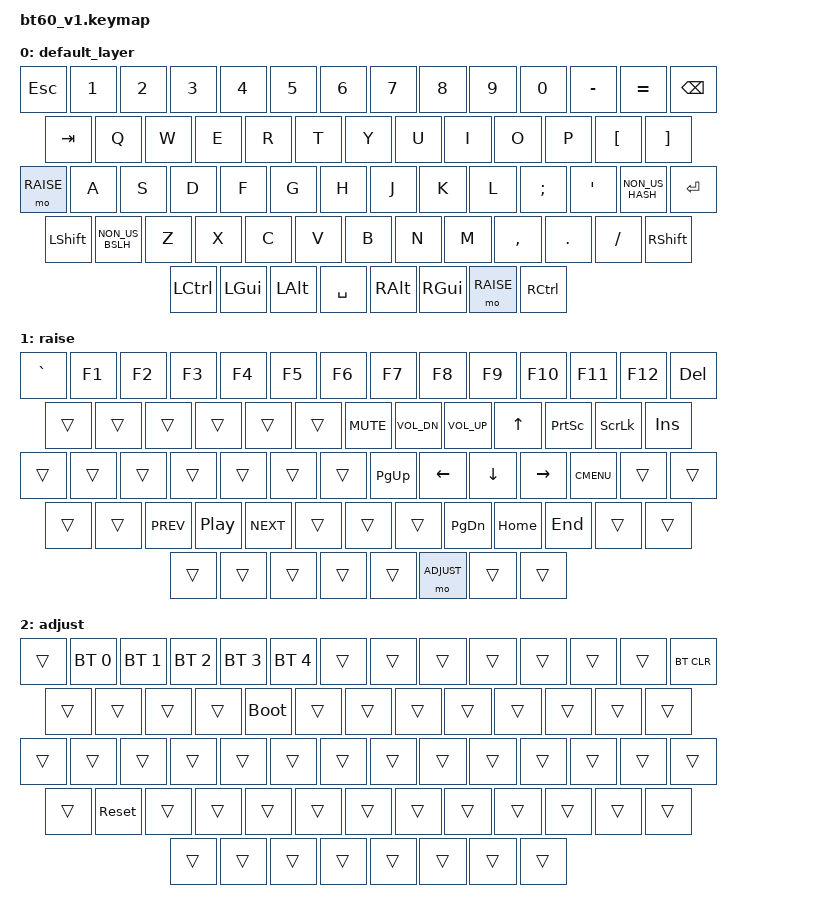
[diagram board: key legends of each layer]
#include <behaviors.dtsi>
#include <dt-bindings/zmk/keys.h>
#include <dt-bindings/zmk/bt.h>

#define DEFAULT 0
#define RAISE 1
#define ADJUST 2

/ {
	chosen {
		zmk,physical-layout = &layout_60_iso;
	};

	keymap {
		compatible = "zmk,keymap";

		default_layer {
				// ------------------------------------------------------------------------------------------
				// | ESC |  1  |  2  |  3  |  4  |  5  |  6  |  7  |  8  |  9  |  0  |  -  |  =  |   BKSP   |
				// | TAB  |  Q  |  W  |  E  |  R  |  T  |  Y  |  U  |  I  |  O  |  P  |  [  |  ]  |         |
				// |   1   |  A  |  S  |  D  |  F  |  G  |  H  |  J  |  K  |  L  |  ;  |  '  |  #   | ENTER |
				// |  SHIFT | |  |  Z  |  X  |  C  |  V  |  B  |  N  |  M  |  ,  |  .  | /   |     SHIFT    |
				// |  CTL  |  WIN  |  ALT  |              SPACE               |   ALT   | WIN |  1   | CTRL |
				// ------------------------------------------------------------------------------------------
			bindings = <
				&kp ESC &kp N1 &kp N2 &kp N3 &kp N4 &kp N5 &kp N6 &kp N7 &kp  N8   &kp  N9 &kp  N0  &kp MINUS &kp EQUAL &kp BSPC
				&kp TAB  &kp Q  &kp W  &kp E  &kp R  &kp T  &kp Y  &kp U  &kp  I    &kp  O  &kp  P   &kp LBKT &kp RBKT
				&mo RAISE  &kp A  &kp S  &kp D  &kp F  &kp G  &kp H  &kp J  &kp  K    &kp  L  &kp SEMI &kp SQT  &kp NON_US_HASH  &kp RET
				&kp LSHFT &kp NON_US_BSLH &kp Z  &kp X  &kp C  &kp V  &kp B  &kp N  &kp M  &kp COMMA &kp DOT &kp FSLH             &kp RSHFT
				&kp LCTRL &kp LGUI &kp LALT            &kp SPACE                          &kp RALT &kp RGUI &mo RAISE &kp RCTRL
			>;
		};
		raise {
				// ------------------------------------------------------------------------------------------
				// |  `  | F1  | F2  | F3  | F4  | F5  | F6  | F7  | F8  | F9  | F10 | F11 | F12 |    DEL   |
				// |  ø   |  ø  |  ø  |  ø  |  ø  |  ø  | MUT |VOL- |VOL+ | UP  | PRT |SCRL | INS |         |
				// |   ø   |  ø  |  ø  |  ø  |  ø  |  ø  |  ø  | PGU | LEF | DWN | RGT | MNU |  ø   |   ø   |
				// |   ø    |  ø  |MPRV  |MPLY |MNXT |  ø  |  ø  |  ø  | PGD | HOM | END |  ø |       ø     |
				// |   ø  |  ø   |   ø   |                 ø                  |   ø     |  2  |  ø   |  ø   |
				// ------------------------------------------------------------------------------------------
			bindings = <
				&kp GRAVE &kp F1 &kp F2 &kp F3 &kp F4 &kp F5 &kp F6 &kp F7 &kp  F8   &kp  F9 &kp  F10  &kp F11 &kp F12   &kp DEL
				&trans &trans &trans &trans &trans &trans &kp C_MUTE &kp C_VOL_DN &kp C_VOL_UP &kp UP &kp PSCRN &kp SLCK &kp INS
				&trans &trans &trans &trans &trans &trans &trans &kp PG_UP &kp LEFT &kp DOWN &kp RIGHT &kp K_CMENU &trans &trans
				&trans &trans &kp C_PREV &kp C_PLAY_PAUSE &kp C_NEXT &trans &trans &trans &kp PG_DN &kp HOME &kp END &trans &trans
				&trans &trans &trans              &trans                            &trans   &mo ADJUST   &trans &trans
			>;
		};
		adjust {
				// ------------------------------------------------------------------------------------------
				// |  ø  | BT1 | BT2 | BT3 | BT4 | BT5 |  ø  |  ø  |  ø  |  ø  |  ø  |  ø  |  ø  |  BT_CLR  |
				// |  ø   |  ø  |  ø  |  ø  |BOOT |  ø  |  ø  |  ø  |  ø  |  ø  |  ø  |  ø  |  ø  |         |
				// |   ø   |  ø  |  ø  |  ø  |  ø  |  ø  |  ø  |  ø  |  ø  |  ø  |  ø  |  ø  |  ø   |   ø   |
				// |   ø    | RST |  ø  |  ø  |  ø  |  ø  |  ø  |  ø  |  ø  |  ø  |  ø  |  ø |       ø      |
				// |   ø  |  ø   |   ø   |                 ø                  |   ø     |  ø  |  ø   |  ø   |
				// ------------------------------------------------------------------------------------------
			bindings = <
				&trans &bt BT_SEL 0 &bt BT_SEL 1 &bt BT_SEL 2 &bt BT_SEL 3 &bt BT_SEL 4 &trans &trans &trans &trans &trans &trans &trans &bt BT_CLR
				&trans &trans &trans &trans &bootloader &trans &trans &trans &trans &trans &trans &trans &trans
				&trans &trans &trans &trans &trans &trans &trans &trans &trans &trans &trans &trans &trans &trans
				&trans &sys_reset &trans &trans &trans &trans &trans &trans &trans &trans &trans &trans  &trans
				&trans &trans &trans              &trans                            &trans   &trans   &trans &trans
			>;
		};
	};
};
